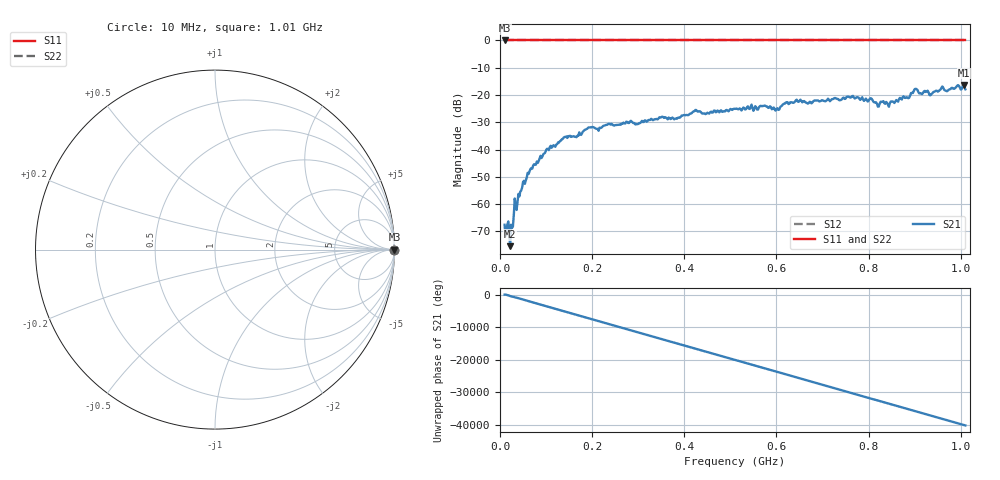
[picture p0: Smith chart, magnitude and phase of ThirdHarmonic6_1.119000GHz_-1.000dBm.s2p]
! 8/16/2025 10:44:57 AM
! C:\ANRITSUVNA\TEMP\TEMP.S2P
! CHANNEL.1
! TR.MEASUREMENT
! RAW.DATA
! RF.CORRECTION.OFF
! AVERAGING.OFF
! IF.BANDWIDTH: 5KHZ
! SWEEPTYPE:  FREQ.SWEEP(Linear)
! Reference Plane Port Info
! PORT:  PORT1  PORT2
! DISTANCE:  0  m  0  m
! TIME:  0  s  0  s
! PHASE.OFFSET:  0  deg.  0  deg.
! LOSS:  0  dB  0  dB
! REF.LOSS:  0  dB  0  dB
! REF.FREQ:  0  Hz  0  Hz
! Power Info
! POWER:  -20  dBm  -20  dBm
! EFF.POWER:  -20  dBm  -20  dBm
! SOURCE.ATTEN:  0  dB  0  dB
! TEST.ATTEN:  0  dB  0  dB
# GHZ S RI R 50.0
! FREQ.GHZ  S11RE  S11IM  S21RE  S21IM  S12RE  S12IM  S22RE  S22IM
!; PortSelection: Port_12
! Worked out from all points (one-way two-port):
!   501 points, 10 MHz to 1.01 GHz, reference 50 ohm
!   highest |S21| = -16.33 dB at 1.006 GHz (marker M1); lowest = -75.4 dB at 22 MHz (marker M2)
!   lowest |S11| = 0.0 dB at 10 MHz (marker M3)
!   |S11| at or under -10 dB: nowhere
!   |S22| runs from 0.0 to 0.0 dB; largest |S21 - S12| = 1.1
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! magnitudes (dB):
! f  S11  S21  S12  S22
! 10 MHz  0.0  -67.6  0.0  0.0
! 22 MHz  0.0  -75.4  0.0  0.0
! 26 MHz  0.0  -68.7  0.0  0.0
! 28 MHz  0.0  -68.2  0.0  0.0
! 36 MHz  0.0  -62.1  0.0  0.0
! 70 MHz  0.0  -47.0  0.0  0.0
! 138 MHz  0.0  -35.6  0.0  0.0
! 178 MHz  0.0  -34.0  0.0  0.0
! 196 MHz  0.0  -31.9  0.0  0.0
! 344 MHz  0.0  -28.6  0.0  0.0
! 510 MHz  0.0  -25.1  0.0  0.0
! 602 MHz  0.0  -24.9  0.0  0.0
! 620 MHz  0.0  -22.8  0.0  0.0
! 678 MHz  0.0  -22.7  0.0  0.0
! 762 MHz  0.0  -20.9  0.0  0.0
! 844 MHz  0.0  -24.3  0.0  0.0
! 886 MHz  0.0  -21.2  0.0  0.0
! 902 MHz  0.0  -17.7  0.0  0.0
! 936 MHz  0.0  -19.6  0.0  0.0
! 958 MHz  0.0  -17.4  0.0  0.0
! 1.006 GHz  0.0  -16.3  0.0  0.0
! 1.01 GHz  0.0  -17.9  0.0  0.0
